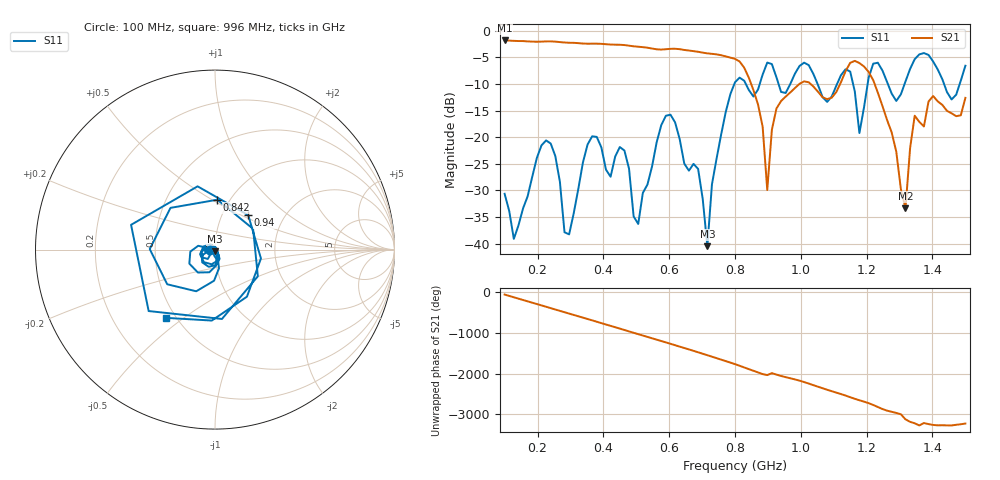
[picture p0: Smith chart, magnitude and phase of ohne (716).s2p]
! NanoVNA-App
! Date: 2025-09-25 14:26:22
! Start: 100MHz Stop: 1,5GHz Points: 101
! S-Parameter data: F S11 S21 S12 S22
# Hz S RI R 50
!  Frequency  S11_Real  S11_Imag  S21_Real  S21_Imag  S12_Real  S12_Imag  S22_Real  S22_Imag
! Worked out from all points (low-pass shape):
!   101 points, 100 MHz to 1.5 GHz, reference 50 ohm
!   highest |S21| = -1.79 dB at 100 MHz (marker M1); lowest = -33.4 dB at 1.318 GHz (marker M2)
!   |S21| within 3 dB of the highest: start of sweep to 772.1 MHz
!   lowest |S11| = -40.5 dB at 716 MHz (marker M3), VSWR 1.02, Z = 49.8 - j0.928 ohm
!   |S11| at or under -10 dB: start of sweep to 797.8 MHz; 833.1 MHz to 875.1 MHz (42.03 MHz wide, 4.92 % of centre); 1.051 GHz to 1.11 GHz (58.9 MHz wide, 5.45 % of centre) (the widest 3 of 7)
!   S12 and S22 are empty: the file has one direction only
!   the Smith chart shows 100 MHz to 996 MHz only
!   S11 on the Smith chart (normalised r, x): 100 MHz: 0.94, -0.01; 842 MHz: 0.88, +0.53; 940 MHz: 1.32, +0.55; 996 MHz: 0.44, -0.43
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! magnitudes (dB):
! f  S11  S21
! 100 MHz  -30.6  -1.8
! 128 MHz  -39.1  -1.9
! 226 MHz  -20.6  -2.0
! 296 MHz  -38.3  -2.2
! 338 MHz  -24.7  -2.4
! 464 MHz  -22.5  -2.7
! 506 MHz  -36.3  -3.0
! 576 MHz  -17.7  -3.5
! 688 MHz  -26.0  -3.9
! 716 MHz  -40.5  -4.2
! 800 MHz  -9.7  -5.3
! 842 MHz  -11.1  -8.8
! 898 MHz  -6.0  -29.9
! 940 MHz  -11.5  -13.2
! 996 MHz  -6.6  -10.0
! 1.038 GHz  -8.1  -10.4
! 1.178 GHz  -19.2  -6.0
! 1.22 GHz  -6.2  -9.3
! 1.276 GHz  -11.8  -19.1
! 1.318 GHz  -9.5  -33.4
! 1.346 GHz  -5.3  -16.0
! 1.5 GHz  -6.5  -12.6
